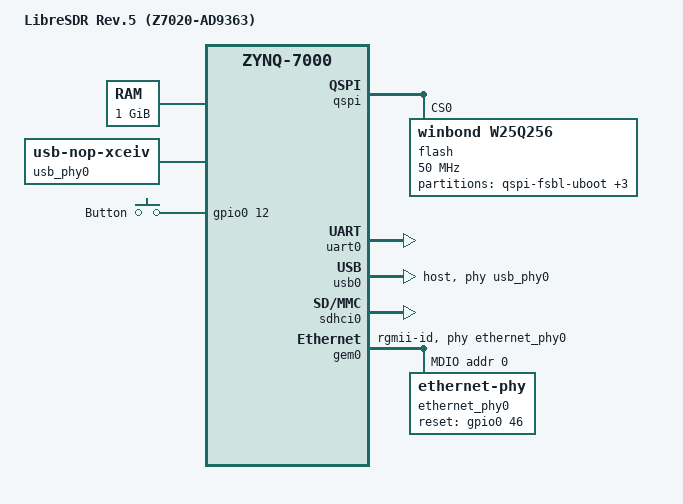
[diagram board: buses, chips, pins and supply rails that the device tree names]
// SPDX-License-Identifier: GPL-2.0+
/*
 * ZynqSDR Rev.5 — U-Boot device tree
 * Board: ZynqSDR Rev.5 (XC7Z020-CLG400 + AD9363)
 *
 * Based on zynq-pluto-sdr.dts (U-Boot 2016, tezuka_fw/libre).
 * Adapted for u-boot-xlnx 2025.1:
 *   - #include headers from the official ADI repository instead of custom ones
 *   - linux,stdout-path (legacy format) removed — in 2025.1
 *   - chosen: stdout-path as a string reference to an alias (recommended format)
 *   - flash: fixed to match actual chip W25Q256 (Winbond)
 *   - align partition node names with their flash offsets, in accordance with the DT specification.
 *   - u-boot,dm-pre-reloc  →  bootph-all  (required in 2025.1)
 *   - mdio {} wrapper required by new DM ETH
 *   - PHY reset-gpios: GPIO46, active-low (polarity 0)
 */
/dts-v1/;
#include "zynq-7000.dtsi"

/ {
	model = "LibreSDR Rev.5 (Z7020-AD9363)";
	compatible = "xlnx,zynq-7000";

	aliases {
		ethernet0 = &gem0;
		serial0 = &uart0;
		spi0 = &qspi;
	};

	memory {
		device_type = "memory";
		reg = <0x0 0x40000000>;
	};

	chosen {
		bootargs = "earlyprintk";
		stdout-path = "serial0:115200n8";
	};

	usb_phy0: phy0 {
		compatible = "usb-nop-xceiv";
		#phy-cells = <0>;
	};

	gpio_keys {
		compatible = "gpio-keys";
		#address-cells = <1>;
		#size-cells = <0>;
		button {
			label = "Button";
			gpios = <&gpio0 12 0>;
			linux,code = <103>; /* up */
			wakeup-source;
			autorepeat;
		};
	};
};

&qspi {
	status = "okay";
	is-dual = <0>;
	num-cs = <1>;

	flash@0 {
		compatible = "winbond,w25q256", "jedec,spi-nor";
		/*
		 * QSPI — Winbond W25Q256 (32 MiB)
		 * Chip confirmed in boot log: "SF: Detected W25Q256"
		 * Previous compatible "n25q512a","micron,m25p80" was incorrect. 
		 */
		reg = <0x0>;
		spi-tx-bus-width = <1>;
		spi-rx-bus-width = <4>;
		spi-max-frequency = <50000000>;
		#address-cells = <1>;
		#size-cells = <1>;
		partition@0 {
			label = "qspi-fsbl-uboot";
			reg = <0x000000 0x100000>; /* 1 MiB */
		};
		partition@100000 {
			label = "qspi-uboot-env";
			reg = <0x100000 0x020000>; /* 128 KiB */
		};
		partition@120000 {
			label = "qspi-nvmfs";
			reg = <0x120000 0x0E0000>; /* 896 KiB */
		};
		partition@200000 {
			label = "qspi-linux";
			reg = <0x200000 0x1E00000>; /* 30 MiB */
		};
	};
};

&uart0 {
	status = "okay";
};

&usb0 {
	status = "okay";
	dr_mode = "host";
	usb-phy = <&usb_phy0>;
};

&sdhci0 {
	bootph-all;
	status = "okay";
};

&gem0 {
	status = "okay";
	phy-mode = "rgmii-id";
	phy-handle = <&ethernet_phy0>;

	mdio {
		#address-cells = <1>;
		#size-cells = <0>;
		ethernet_phy0: ethernet-phy@0 {
			reg = <0>;
			reset-gpios = <&gpio0 46 0>;
		};
	};
};
